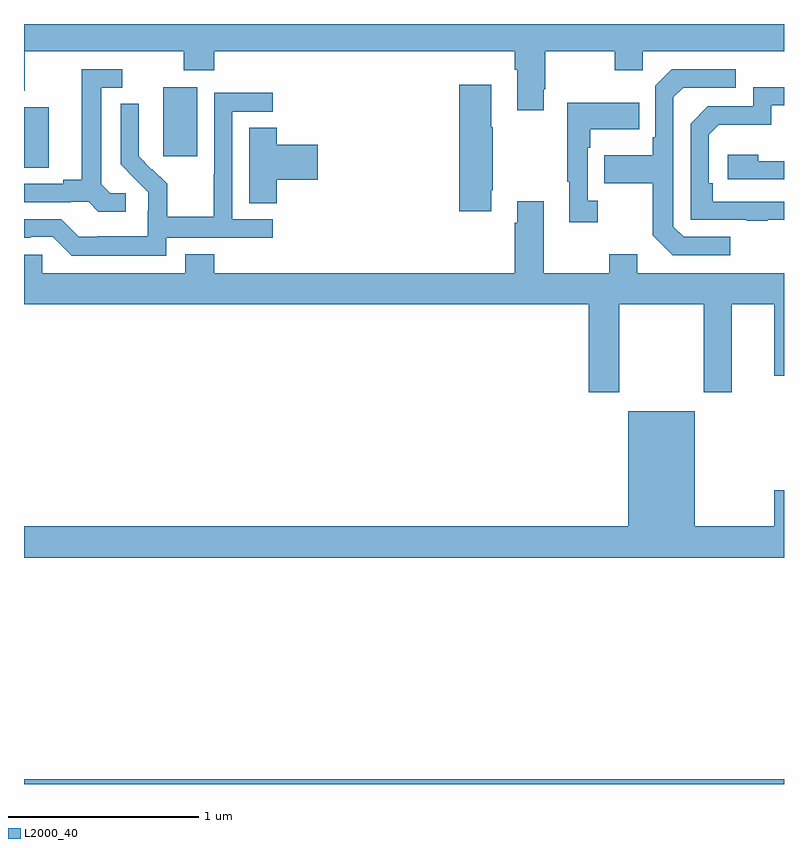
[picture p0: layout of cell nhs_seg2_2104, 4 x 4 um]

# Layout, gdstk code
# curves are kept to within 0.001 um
import gdstk
lib = gdstk.Library(unit=1e-6, precision=1e-09)
def R(c, l, rs):  # rectangles x0, y0, x1, y1
    for r in rs: c.add(gdstk.rectangle(r[:2], r[2:], *l))
def P(c, l, *ps):  # polygons
    for p in ps: c.add(gdstk.Polygon(p, *l))
L2000_40 = (2000, 40)

nhs_seg2_2104 = lib.new_cell('nhs_seg2_2104')
R(nhs_seg2_2104, L2000_40, [(221,623.8,225,623.824), (221,627.043,221.131,627.363), (221.732,627.105,221.911,627.466)])
P(nhs_seg2_2104, L2000_40, [(223.735,627.457),(223.743,627.457),(223.743,627.656),(224.11,627.656),(224.11,627.557),(224.256,627.557),(224.256,627.656),(225,627.656),(225,627.8),(221,627.8),(221,627.448),(221.005,627.448),(221.005,627.656),(221.842,627.656),(221.842,627.557),(222.002,627.557),(222.002,627.656),(223.583,627.656),(223.583,627.56),(223.595,627.56),(223.595,627.345),(223.735,627.345)],
  [(221.536,626.91),(221.454,626.91),(221.407,626.957),(221.407,627.465),(221.518,627.465),(221.518,627.561),(221.303,627.561),(221.303,626.981),(221.207,626.981),(221.207,626.958),(221,626.958),(221,626.862),(221.246,626.862),(221.246,626.865),(221.34,626.865),(221.392,626.813),(221.536,626.813)],
  [(224.716,626.679),(224.472,626.679),(224.418,626.733),(224.418,627.414),(224.469,627.465),(224.746,627.465),(224.746,627.561),(224.409,627.561),(224.322,627.474),(224.322,627.205),(224.31,627.205),(224.31,627.109),(224.053,627.109),(224.053,626.962),(224.31,626.962),(224.31,626.689),(224.415,626.583),(224.716,626.583)],
  [(223.459,626.926),(223.467,626.926),(223.467,627.257),(223.459,627.257),(223.459,627.481),(223.292,627.481),(223.292,626.814),(223.459,626.814)],
  [(224.915,626.769),(225,626.769),(225,626.865),(224.624,626.865),(224.624,626.962),(224.604,626.962),(224.604,627.216),(224.657,627.269),(224.934,627.269),(224.934,627.372),(225,627.372),(225,627.468),(224.838,627.468),(224.838,627.366),(224.598,627.366),(224.508,627.276),(224.508,626.769),(224.803,626.769),(224.803,626.764),(224.915,626.764)],
  [(221.748,626.676),(222.31,626.676),(222.31,626.772),(222.096,626.772),(222.096,627.339),(222.31,627.339),(222.31,627.438),(222,627.438),(222,627.008),(221.998,627.008),(221.998,626.785),(221.753,626.785),(221.753,626.959),(221.676,627.036),(221.673,627.033),(221.603,627.104),(221.604,627.38),(221.508,627.38),(221.508,627.062),(221.654,626.914),(221.654,626.817),(221.652,626.817),(221.652,626.683),(221.389,626.683),(221.389,626.679),(221.289,626.679),(221.196,626.772),(221,626.772),(221,626.676),(221.036,626.676),(221.036,626.679),(221.151,626.679),(221.251,626.579),(221.748,626.579)],
  [(224.02,626.87),(223.968,626.87),(223.968,627.149),(223.981,627.149),(223.981,627.245),(224.237,627.245),(224.237,627.385),(223.86,627.385),(223.86,626.969),(223.871,626.969),(223.871,626.757),(224.02,626.757)],
  [(222.329,626.981),(222.547,626.981),(222.547,627.164),(222.329,627.164),(222.329,627.254),(222.185,627.254),(222.185,626.857),(222.329,626.857)],
  [(225,627.078),(224.864,627.078),(224.864,627.112),(224.703,627.112),(224.703,626.982),(225,626.982)],
  [(224.133,626.324),(224.578,626.324),(224.578,625.863),(224.725,625.863),(224.725,626.324),(224.948,626.324),(224.948,625.95),(225,625.95),(225,626.488),(224.227,626.488),(224.227,626.587),(224.08,626.587),(224.08,626.488),(223.735,626.488),(223.735,626.866),(223.595,626.866),(223.595,626.753),(223.583,626.753),(223.583,626.488),(222.002,626.488),(222.002,626.587),(221.849,626.587),(221.849,626.488),(221.097,626.488),(221.097,626.586),(221,626.586),(221,626.324),(223.973,626.324),(223.973,625.863),(224.133,625.863)],
  [(225,625.345),(224.948,625.345),(224.948,625.156),(224.53,625.156),(224.53,625.762),(224.18,625.762),(224.18,625.156),(221,625.156),(221,624.992),(225,624.992)])

lib.write_gds('nhs_seg2_2104.gds')
